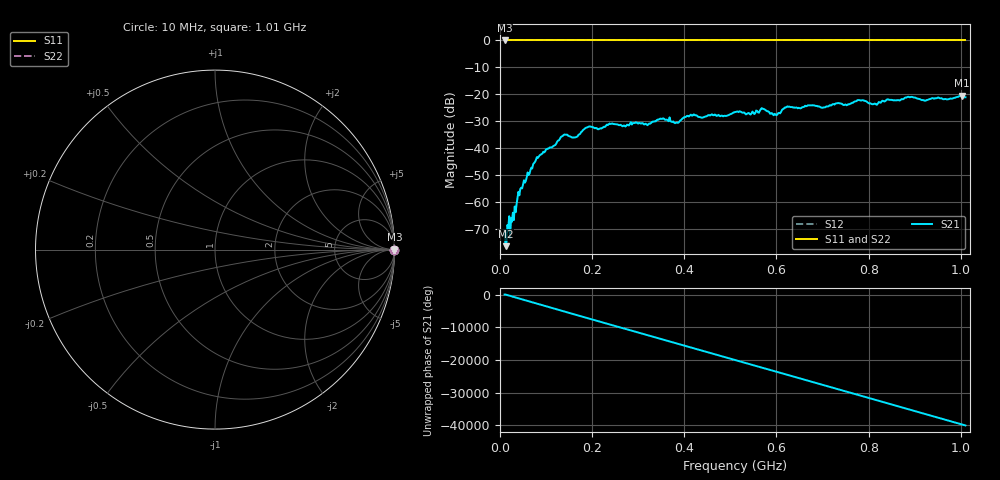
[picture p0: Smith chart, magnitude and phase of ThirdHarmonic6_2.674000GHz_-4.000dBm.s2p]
! 8/17/2025 6:14:27 AM
! C:\ANRITSUVNA\TEMP\TEMP.S2P
! CHANNEL.1
! TR.MEASUREMENT
! RAW.DATA
! RF.CORRECTION.OFF
! AVERAGING.OFF
! IF.BANDWIDTH: 5KHZ
! SWEEPTYPE:  FREQ.SWEEP(Linear)
! Reference Plane Port Info
! PORT:  PORT1  PORT2
! DISTANCE:  0  m  0  m
! TIME:  0  s  0  s
! PHASE.OFFSET:  0  deg.  0  deg.
! LOSS:  0  dB  0  dB
! REF.LOSS:  0  dB  0  dB
! REF.FREQ:  0  Hz  0  Hz
! Power Info
! POWER:  -20  dBm  -20  dBm
! EFF.POWER:  -20  dBm  -20  dBm
! SOURCE.ATTEN:  0  dB  0  dB
! TEST.ATTEN:  0  dB  0  dB
# GHZ S RI R 50.0
! FREQ.GHZ  S11RE  S11IM  S21RE  S21IM  S12RE  S12IM  S22RE  S22IM
!; PortSelection: Port_12
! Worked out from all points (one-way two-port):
!   501 points, 10 MHz to 1.01 GHz, reference 50 ohm
!   highest |S21| = -20.49 dB at 1.002 GHz (marker M1); lowest = -76.5 dB at 12 MHz (marker M2)
!   lowest |S11| = 0.0 dB at 10 MHz (marker M3)
!   |S11| at or under -10 dB: nowhere
!   |S22| runs from 0.0 to 0.0 dB; largest |S21 - S12| = 1.1
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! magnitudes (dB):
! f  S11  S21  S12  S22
! 10 MHz  0.0  -70.5  0.0  0.0
! 12 MHz  0.0  -76.5  0.0  0.0
! 26 MHz  0.0  -67.4  0.0  0.0
! 42 MHz  0.0  -57.6  0.0  0.0
! 82 MHz  0.0  -43.7  0.0  0.0
! 136 MHz  0.0  -35.5  0.0  0.0
! 162 MHz  0.0  -36.1  0.0  0.0
! 178 MHz  0.0  -33.8  0.0  0.0
! 194 MHz  0.0  -31.9  0.0  0.0
! 322 MHz  0.0  -31.1  0.0  0.0
! 344 MHz  0.0  -29.4  0.0  0.0
! 384 MHz  0.0  -30.5  0.0  0.0
! 418 MHz  0.0  -27.9  0.0  0.0
! 510 MHz  0.0  -26.6  0.0  0.0
! 570 MHz  0.0  -25.4  0.0  0.0
! 598 MHz  0.0  -27.5  0.0  0.0
! 622 MHz  0.0  -24.7  0.0  0.0
! 678 MHz  0.0  -24.1  0.0  0.0
! 814 MHz  0.0  -23.5  0.0  0.0
! 844 MHz  0.0  -22.1  0.0  0.0
! 1.002 GHz  0.0  -20.5  0.0  0.0
! 1.01 GHz  0.0  -21.1  0.0  0.0
